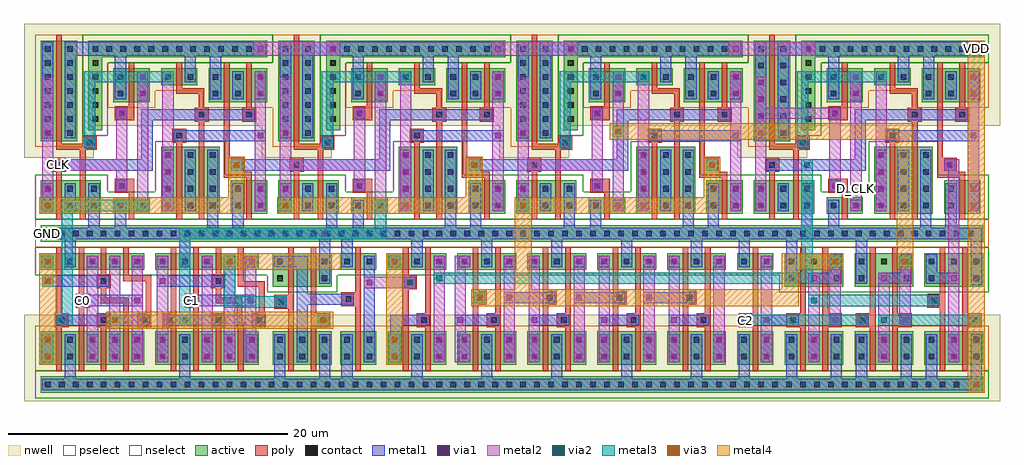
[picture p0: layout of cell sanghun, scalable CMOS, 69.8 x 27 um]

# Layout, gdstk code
import gdstk
lib = gdstk.Library(unit=1e-6, precision=1e-09)
def R(c, l, rs):  # rectangles x0, y0, x1, y1
    for r in rs: c.add(gdstk.rectangle(r[:2], r[2:], *l))
def A(c, l, x, y, w, h, nx, ny, dx, dy):  # array of equal rectangles
    R(c, l, [(x+i*dx, y+j*dy, x+i*dx+w, y+j*dy+h) for i in range(nx) for j in range(ny)])
contact = (25, 0)
via3 = (30, 0)
metal4 = (31, 0)
nwell = (42, 0)
active = (43, 0)
pselect = (44, 0)
nselect = (45, 0)
poly = (46, 0)
metal1 = (49, 0)
via1 = (50, 0)
metal2 = (51, 0)
via2 = (61, 0)
metal3 = (62, 0)

sanghun = lib.new_cell('sanghun')
A(sanghun, contact, -20.9, -8.3, 0.4, 0.4, 7, 2, 1, 10.8)
A(sanghun, contact, -14.9, -8.3, 0.4, 0.4, 6, 2, 1, 10.8)
A(sanghun, contact, -9.9, -8.3, 0.4, 0.4, 6, 2, 1, 10.8)
A(sanghun, contact, -4.9, -8.3, 0.4, 0.4, 3, 2, 1, 10.8)
A(sanghun, contact, -0.9, -8.3, 0.4, 0.4, 4, 2, 1, 10.8)
A(sanghun, contact, 2.1, -8.3, 0.4, 0.4, 7, 2, 1, 10.8)
A(sanghun, contact, 8.1, -8.3, 0.4, 0.4, 6, 2, 1, 10.8)
A(sanghun, contact, 13.1, -8.3, 0.4, 0.4, 6, 2, 1, 10.8)
A(sanghun, contact, 18.1, -8.3, 0.4, 0.4, 3, 2, 1, 10.8)
A(sanghun, contact, 22.1, -8.3, 0.4, 0.4, 4, 2, 1, 10.8)
A(sanghun, contact, 25.1, -8.3, 0.4, 0.4, 7, 2, 1, 10.8)
A(sanghun, contact, 31.1, -8.3, 0.4, 0.4, 6, 2, 1, 10.8)
A(sanghun, contact, 36.1, -8.3, 0.4, 0.4, 6, 2, 1, 10.8)
A(sanghun, contact, 41.1, -8.3, 0.4, 0.4, 3, 2, 1, 10.8)
A(sanghun, contact, -4.3, -6.3, 0.4, 0.4, 5, 2, 1.6, 1.2)
A(sanghun, contact, 32.3, -6.3, 0.4, 0.4, 3, 2, 1.6, 1.2)
A(sanghun, contact, 37.3, -6.3, 0.4, 0.4, 3, 2, 1.6, 1.2)
A(sanghun, contact, 42.3, -6.3, 0.4, 0.4, 3, 2, 1.6, 1.2)
A(sanghun, contact, 6, -3.7, 0.4, 0.4, 5, 1, 5, 0)
A(sanghun, contact, 10, -2.1, 0.4, 0.4, 4, 1, 5, 0)
A(sanghun, contact, -20.9, 0.5, 0.4, 0.4, 1, 3, 0, 2)
A(sanghun, contact, -1.1, 0.5, 0.4, 0.4, 3, 1, 1.6, 0)
A(sanghun, contact, 32.3, 0.5, 0.4, 0.4, 3, 1, 1.6, 0)
A(sanghun, contact, 37.3, 0.5, 0.4, 0.4, 3, 1, 1.6, 0)
A(sanghun, contact, 42.3, 0.5, 0.4, 0.4, 3, 1, 1.6, 0)
A(sanghun, contact, -12.3, 4.5, 0.4, 0.4, 1, 4, 0, 1.2)
A(sanghun, contact, -9.1, 4.5, 0.4, 0.4, 1, 3, 0, 1.2)
A(sanghun, contact, 4.7, 4.5, 0.4, 0.4, 1, 4, 0, 1.2)
A(sanghun, contact, 7.9, 4.5, 0.4, 0.4, 1, 3, 0, 1.2)
A(sanghun, contact, 21.7, 4.5, 0.4, 0.4, 1, 4, 0, 1.2)
A(sanghun, contact, 24.9, 4.5, 0.4, 0.4, 1, 3, 0, 1.2)
A(sanghun, contact, 38.7, 4.5, 0.4, 0.4, 1, 4, 0, 1.2)
A(sanghun, contact, 41.9, 4.5, 0.4, 0.4, 1, 3, 0, 1.2)
A(sanghun, contact, -15.6, 5.9, 0.4, 0.4, 4, 2, 17, 5.2)
A(sanghun, contact, -17.9, 9, 0.4, 0.4, 4, 1, 17, 0)
A(sanghun, contact, -11.5, 9.5, 0.4, 0.4, 4, 1, 17, 0)
A(sanghun, contact, -20.9, 9.7, 0.4, 0.4, 1, 4, 0, 1)
A(sanghun, contact, -19.3, 9.7, 0.4, 0.4, 1, 4, 0, 1)
A(sanghun, contact, -3.9, 9.7, 0.4, 0.4, 1, 4, 0, 1)
A(sanghun, contact, -2.3, 9.7, 0.4, 0.4, 1, 4, 0, 1)
A(sanghun, contact, 13.1, 9.7, 0.4, 0.4, 1, 4, 0, 1)
A(sanghun, contact, 14.7, 9.7, 0.4, 0.4, 1, 4, 0, 1)
A(sanghun, contact, 30.1, 9.7, 0.4, 0.4, 1, 6, 0, 1.2)
A(sanghun, contact, 31.7, 9.7, 0.4, 0.4, 1, 6, 0, 1.2)
A(sanghun, contact, -17.5, 10.7, 0.4, 0.4, 1, 3, 0, 1)
A(sanghun, contact, -0.5, 10.7, 0.4, 0.4, 1, 3, 0, 1)
A(sanghun, contact, 16.5, 10.7, 0.4, 0.4, 1, 3, 0, 1)
A(sanghun, contact, 33.5, 10.7, 0.4, 0.4, 1, 3, 0, 1)
A(sanghun, contact, -20.9, 12.7, 0.4, 0.4, 1, 4, 0, 1)
A(sanghun, contact, -19.3, 12.7, 0.4, 0.4, 1, 4, 0, 1)
A(sanghun, contact, -3.9, 12.7, 0.4, 0.4, 1, 4, 0, 1)
A(sanghun, contact, -2.3, 12.7, 0.4, 0.4, 1, 4, 0, 1)
A(sanghun, contact, 13.1, 12.7, 0.4, 0.4, 1, 4, 0, 1)
A(sanghun, contact, 14.7, 12.7, 0.4, 0.4, 1, 4, 0, 1)
A(sanghun, contact, -17.5, 13.7, 0.4, 0.4, 1, 3, 0, 1)
A(sanghun, contact, -0.5, 13.7, 0.4, 0.4, 1, 3, 0, 1)
A(sanghun, contact, 16.5, 13.7, 0.4, 0.4, 1, 3, 0, 1)
A(sanghun, contact, 33.5, 13.7, 0.4, 0.4, 1, 3, 0, 1)
A(sanghun, contact, -17.5, 15.7, 0.4, 0.4, 3, 1, 1, 0)
A(sanghun, contact, -15.5, 15.7, 0.4, 0.4, 10, 1, 1, 0)
A(sanghun, contact, -0.5, 15.7, 0.4, 0.4, 3, 1, 1, 0)
A(sanghun, contact, 1.5, 15.7, 0.4, 0.4, 10, 1, 1, 0)
A(sanghun, contact, 18.5, 15.7, 0.4, 0.4, 10, 1, 1, 0)
A(sanghun, contact, 35.5, 15.7, 0.4, 0.4, 11, 1, 1, 0)
R(sanghun, contact, [(-20.9,-8.3,-20.5,-7.9), (-2.9,-8.3,-2.5,-7.9), (-1.9,-8.3,-1.5,-7.9), (-1.9,-8.3,-1.5,-7.9), (-0.9,-8.3,-0.5,-7.9), (2.1,-8.3,2.5,-7.9), (20.1,-8.3,20.5,-7.9), (21.1,-8.3,21.5,-7.9), (21.1,-8.3,21.5,-7.9), (22.1,-8.3,22.5,-7.9), (25.1,-8.3,25.5,-7.9), (43.1,-8.3,43.5,-7.9), (44.1,-8.3,44.5,-7.9), (44.1,-8.3,44.5,-7.9), (45.5,-8.3,45.9,-7.9), (-20.9,-6.3,-20.5,-5.9), (-19.3,-6.3,-18.9,-5.9), (-19.3,-6.3,-18.9,-5.9), (-17.7,-6.3,-17.3,-5.9), (-17.7,-6.3,-17.3,-5.9), (-16.1,-6.3,-15.7,-5.9), (-16.1,-6.3,-15.7,-5.9), (-14.5,-6.3,-14.1,-5.9), (-12.7,-6.3,-12.3,-5.9), (-11.1,-6.3,-10.7,-5.9), (-11.1,-6.3,-10.7,-5.9), (-9.5,-6.3,-9.1,-5.9), (-9.5,-6.3,-9.1,-5.9), (-7.9,-6.3,-7.5,-5.9), (-7.9,-6.3,-7.5,-5.9), (-6.3,-6.3,-5.9,-5.9), (3.9,-6.3,4.3,-5.9), (3.9,-6.3,4.3,-5.9), (5.5,-6.3,5.9,-5.9), (5.5,-6.3,5.9,-5.9), (7.1,-6.3,7.5,-5.9), (8.9,-6.3,9.3,-5.9), (10.5,-6.3,10.9,-5.9), (10.5,-6.3,10.9,-5.9), (12.1,-6.3,12.5,-5.9), (13.9,-6.3,14.3,-5.9), (15.5,-6.3,15.9,-5.9), (15.5,-6.3,15.9,-5.9), (17.1,-6.3,17.5,-5.9), (18.9,-6.3,19.3,-5.9), (20.5,-6.3,20.9,-5.9), (20.5,-6.3,20.9,-5.9), (22.1,-6.3,22.5,-5.9), (23.9,-6.3,24.3,-5.9), (25.5,-6.3,25.9,-5.9), (25.5,-6.3,25.9,-5.9), (27.1,-6.3,27.5,-5.9), (28.9,-6.3,29.3,-5.9), (30.5,-6.3,30.9,-5.9), (-20.9,-5.1,-20.5,-4.7), (-19.3,-5.1,-18.9,-4.7), (-19.3,-5.1,-18.9,-4.7), (-17.7,-5.1,-17.3,-4.7), (-17.7,-5.1,-17.3,-4.7), (-16.1,-5.1,-15.7,-4.7), (-16.1,-5.1,-15.7,-4.7), (-14.5,-5.1,-14.1,-4.7), (-12.7,-5.1,-12.3,-4.7), (-11.1,-5.1,-10.7,-4.7), (-11.1,-5.1,-10.7,-4.7), (-9.5,-5.1,-9.1,-4.7), (-9.5,-5.1,-9.1,-4.7), (-7.9,-5.1,-7.5,-4.7), (-7.9,-5.1,-7.5,-4.7), (-6.3,-5.1,-5.9,-4.7), (3.9,-5.1,4.3,-4.7), (3.9,-5.1,4.3,-4.7), (5.5,-5.1,5.9,-4.7), (5.5,-5.1,5.9,-4.7), (7.1,-5.1,7.5,-4.7), (8.9,-5.1,9.3,-4.7), (10.5,-5.1,10.9,-4.7), (10.5,-5.1,10.9,-4.7), (12.1,-5.1,12.5,-4.7), (13.9,-5.1,14.3,-4.7), (15.5,-5.1,15.9,-4.7), (15.5,-5.1,15.9,-4.7), (17.1,-5.1,17.5,-4.7), (18.9,-5.1,19.3,-4.7), (20.5,-5.1,20.9,-4.7), (20.5,-5.1,20.9,-4.7), (22.1,-5.1,22.5,-4.7), (23.9,-5.1,24.3,-4.7), (25.5,-5.1,25.9,-4.7), (25.5,-5.1,25.9,-4.7), (27.1,-5.1,27.5,-4.7), (28.9,-5.1,29.3,-4.7), (30.5,-5.1,30.9,-4.7), (-19.9,-3.7,-19.5,-3.3), (-16.9,-3.7,-16.5,-3.3), (-14,-3.7,-13.6,-3.3), (-12.2,-3.7,-11.8,-3.3), (-8.7,-3.7,-8.3,-3.3), (-5.8,-3.7,-5.4,-3.3), (-1.2,-3.7,-0.8,-3.3), (29,-3.7,29.4,-3.3), (32.4,-3.7,32.8,-3.3), (35.4,-3.7,35.8,-3.3), (37.4,-3.7,37.8,-3.3), (40.4,-3.7,40.8,-3.3), (45.4,-3.7,45.8,-3.3), (-4.2,-2.4,-3.8,-2), (-18.4,-2.3,-18,-1.9), (-10.6,-2.3,-10.2,-1.9), (42.5,-2.3,42.9,-1.9), (42.5,-2.3,42.9,-1.9), (0.6,-2.2,1,-1.8), (5,-1,5.4,-0.6), (-16.9,-0.9,-16.5,-0.5), (-8.7,-0.9,-8.3,-0.5), (-4.3,-0.7,-3.9,-0.3), (-1.1,-0.7,-0.7,-0.3), (32.3,-0.7,32.7,-0.3), (35.5,-0.7,35.9,-0.3), (37.3,-0.7,37.7,-0.3), (40.5,-0.7,40.9,-0.3), (42.3,-0.7,42.7,-0.3), (45.5,-0.7,45.9,-0.3), (-19.3,0.5,-18.9,0.9), (-19.3,0.5,-18.9,0.9), (-17.7,0.5,-17.3,0.9), (-17.7,0.5,-17.3,0.9), (-16.1,0.5,-15.7,0.9), (-16.1,0.5,-15.7,0.9), (-14.5,0.5,-14.1,0.9), (-12.7,0.5,-12.3,0.9), (-11.1,0.5,-10.7,0.9), (-11.1,0.5,-10.7,0.9), (-9.5,0.5,-9.1,0.9), (-9.5,0.5,-9.1,0.9), (-7.9,0.5,-7.5,0.9), (-7.9,0.5,-7.5,0.9), (-6.3,0.5,-5.9,0.9), (-4.3,0.5,-3.9,0.9), (3.9,0.5,4.3,0.9), (5.5,0.5,5.9,0.9), (5.5,0.5,5.9,0.9), (7.1,0.5,7.5,0.9), (8.9,0.5,9.3,0.9), (10.5,0.5,10.9,0.9), (10.5,0.5,10.9,0.9), (12.1,0.5,12.5,0.9), (13.9,0.5,14.3,0.9), (15.5,0.5,15.9,0.9), (15.5,0.5,15.9,0.9), (17.1,0.5,17.5,0.9), (18.9,0.5,19.3,0.9), (20.5,0.5,20.9,0.9), (20.5,0.5,20.9,0.9), (22.1,0.5,22.5,0.9), (23.9,0.5,24.3,0.9), (25.5,0.5,25.9,0.9), (25.5,0.5,25.9,0.9), (27.1,0.5,27.5,0.9), (28.9,0.5,29.3,0.9), (30.5,0.5,30.9,0.9), (-2.9,2.5,-2.5,2.9), (-1.9,2.5,-1.5,2.9), (-1.9,2.5,-1.5,2.9), (-0.9,2.5,-0.5,2.9), (2.1,2.5,2.5,2.9), (20.1,2.5,20.5,2.9), (21.1,2.5,21.5,2.9), (21.1,2.5,21.5,2.9), (22.1,2.5,22.5,2.9), (25.1,2.5,25.5,2.9), (43.1,2.5,43.5,2.9), (44.1,2.5,44.5,2.9), (44.1,2.5,44.5,2.9), (45.1,2.5,45.5,2.9), (45.1,2.5,45.5,2.9), (-19.3,4.5,-18.9,4.9), (-19.3,4.5,-18.9,4.9), (-17.6,4.5,-17.2,4.9), (-17.6,4.5,-17.2,4.9), (-15.7,4.5,-15.3,4.9), (-14.1,4.5,-13.7,4.9), (-10.7,4.5,-10.3,4.9), (-10.7,4.5,-10.3,4.9), (-9.1,4.5,-8.7,4.9), (-7.3,4.5,-6.9,4.9), (-5.7,4.5,-5.3,4.9), (-3.9,4.5,-3.5,4.9), (-2.3,4.5,-1.9,4.9), (-2.3,4.5,-1.9,4.9), (-0.6,4.5,-0.2,4.9), (-0.6,4.5,-0.2,4.9), (1.3,4.5,1.7,4.9), (2.9,4.5,3.3,4.9), (6.3,4.5,6.7,4.9), (6.3,4.5,6.7,4.9), (7.9,4.5,8.3,4.9), (9.7,4.5,10.1,4.9), (11.3,4.5,11.7,4.9), (13.1,4.5,13.5,4.9), (14.7,4.5,15.1,4.9), (14.7,4.5,15.1,4.9), (16.4,4.5,16.8,4.9), (16.4,4.5,16.8,4.9), (18.3,4.5,18.7,4.9), (19.9,4.5,20.3,4.9), (23.3,4.5,23.7,4.9), (23.3,4.5,23.7,4.9), (24.9,4.5,25.3,4.9), (26.7,4.5,27.1,4.9), (28.3,4.5,28.7,4.9), (30.1,4.5,30.5,4.9), (31.7,4.5,32.1,4.9), (31.7,4.5,32.1,4.9), (33.4,4.5,33.8,4.9), (33.4,4.5,33.8,4.9), (35.3,4.5,35.7,4.9), (36.9,4.5,37.3,4.9), (40.3,4.5,40.7,4.9), (40.3,4.5,40.7,4.9), (41.9,4.5,42.3,4.9), (43.7,4.5,44.1,4.9), (45.3,4.5,45.7,4.9), (-20.9,5.7,-20.5,6.1), (-19.3,5.7,-18.9,6.1), (-19.3,5.7,-18.9,6.1), (-17.6,5.7,-17.2,6.1), (-10.7,5.7,-10.3,6.1), (-10.7,5.7,-10.3,6.1), (-7.3,5.7,-6.9,6.1), (-5.7,5.7,-5.3,6.1), (-3.9,5.7,-3.5,6.1), (-2.3,5.7,-1.9,6.1), (-2.3,5.7,-1.9,6.1), (-0.6,5.7,-0.2,6.1), (6.3,5.7,6.7,6.1), (6.3,5.7,6.7,6.1), (9.7,5.7,10.1,6.1), (11.3,5.7,11.7,6.1), (13.1,5.7,13.5,6.1), (14.7,5.7,15.1,6.1), (14.7,5.7,15.1,6.1), (16.4,5.7,16.8,6.1), (23.3,5.7,23.7,6.1), (23.3,5.7,23.7,6.1), (26.7,5.7,27.1,6.1), (28.3,5.7,28.7,6.1), (30.1,5.7,30.5,6.1), (31.7,5.7,32.1,6.1), (31.7,5.7,32.1,6.1), (33.4,5.7,33.8,6.1), (40.3,5.7,40.7,6.1), (40.3,5.7,40.7,6.1), (43.7,5.7,44.1,6.1), (45.3,5.7,45.7,6.1), (-10.7,6.9,-10.3,7.3), (-10.7,6.9,-10.3,7.3), (-9.1,6.9,-8.7,7.3), (6.3,6.9,6.7,7.3), (6.3,6.9,6.7,7.3), (7.9,6.9,8.3,7.3), (23.3,6.9,23.7,7.3), (23.3,6.9,23.7,7.3), (24.9,6.9,25.3,7.3), (40.3,6.9,40.7,7.3), (40.3,6.9,40.7,7.3), (41.9,6.9,42.3,7.3), (-20.1,7.4,-19.7,7.8), (-7.4,7.4,-7,7.8), (-3.1,7.4,-2.7,7.8), (9.6,7.4,10,7.8), (13.9,7.4,14.3,7.8), (26.6,7.4,27,7.8), (30.9,7.4,31.3,7.8), (43.6,7.4,44,7.8), (-10.7,8.1,-10.3,8.5), (-10.7,8.1,-10.3,8.5), (-9.1,8.1,-8.7,8.5), (6.3,8.1,6.7,8.5), (6.3,8.1,6.7,8.5), (7.9,8.1,8.3,8.5), (23.3,8.1,23.7,8.5), (23.3,8.1,23.7,8.5), (24.9,8.1,25.3,8.5), (40.3,8.1,40.7,8.5), (40.3,8.1,40.7,8.5), (41.9,8.1,42.3,8.5), (-20.9,9.7,-20.5,10.1), (-19.3,9.7,-18.9,10.1), (-3.9,9.7,-3.5,10.1), (-3.9,9.7,-3.5,10.1), (-3.9,9.7,-3.5,10.1), (-3.9,9.7,-3.5,10.1), (-2.3,9.7,-1.9,10.1), (-2.3,9.7,-1.9,10.1), (-2.3,9.7,-1.9,10.1), (-2.3,9.7,-1.9,10.1), (13.1,9.7,13.5,10.1), (13.1,9.7,13.5,10.1), (14.7,9.7,15.1,10.1), (14.7,9.7,15.1,10.1), (-9.9,11,-9.5,11.4), (-6.5,11,-6.1,11.4), (7.1,11,7.5,11.4), (10.5,11,10.9,11.4), (24.1,11,24.5,11.4), (27.5,11,27.9,11.4), (41.1,11,41.5,11.4), (44.5,11,44.9,11.4), (-15.7,12.5,-15.3,12.9), (-14.1,12.5,-13.7,12.9), (-8.9,12.5,-8.5,12.9), (-7.3,12.5,-6.9,12.9), (-7.3,12.5,-6.9,12.9), (-5.7,12.5,-5.3,12.9), (1.3,12.5,1.7,12.9), (2.9,12.5,3.3,12.9), (8.1,12.5,8.5,12.9), (9.7,12.5,10.1,12.9), (9.7,12.5,10.1,12.9), (11.3,12.5,11.7,12.9), (18.3,12.5,18.7,12.9), (19.9,12.5,20.3,12.9), (25.1,12.5,25.5,12.9), (26.7,12.5,27.1,12.9), (26.7,12.5,27.1,12.9), (28.3,12.5,28.7,12.9), (35.3,12.5,35.7,12.9), (36.9,12.5,37.3,12.9), (42.1,12.5,42.5,12.9), (43.7,12.5,44.1,12.9), (43.7,12.5,44.1,12.9), (45.3,12.5,45.7,12.9), (-17.5,12.7,-17.1,13.1), (-0.5,12.7,-0.1,13.1), (16.5,12.7,16.9,13.1), (33.5,12.7,33.9,13.1), (-17.5,13.7,-17.1,14.1), (-15.7,13.7,-15.3,14.1), (-14.1,13.7,-13.7,14.1), (-12.3,13.7,-11.9,14.1), (-10.7,13.7,-10.3,14.1), (-8.9,13.7,-8.5,14.1), (-8.9,13.7,-8.5,14.1), (-7.3,13.7,-6.9,14.1), (-7.3,13.7,-6.9,14.1), (-5.7,13.7,-5.3,14.1), (-0.5,13.7,-0.1,14.1), (1.3,13.7,1.7,14.1), (2.9,13.7,3.3,14.1), (4.7,13.7,5.1,14.1), (6.3,13.7,6.7,14.1), (8.1,13.7,8.5,14.1), (8.1,13.7,8.5,14.1), (9.7,13.7,10.1,14.1), (9.7,13.7,10.1,14.1), (11.3,13.7,11.7,14.1), (16.5,13.7,16.9,14.1), (18.3,13.7,18.7,14.1), (19.9,13.7,20.3,14.1), (21.7,13.7,22.1,14.1), (23.3,13.7,23.7,14.1), (25.1,13.7,25.5,14.1), (25.1,13.7,25.5,14.1), (26.7,13.7,27.1,14.1), (26.7,13.7,27.1,14.1), (28.3,13.7,28.7,14.1), (33.5,13.7,33.9,14.1), (35.3,13.7,35.7,14.1), (36.9,13.7,37.3,14.1), (38.7,13.7,39.1,14.1), (40.3,13.7,40.7,14.1), (42.1,13.7,42.5,14.1), (42.1,13.7,42.5,14.1), (43.7,13.7,44.1,14.1), (43.7,13.7,44.1,14.1), (45.3,13.7,45.7,14.1), (-20.9,15.7,-20.5,16.1), (-19.3,15.7,-18.9,16.1), (-3.9,15.7,-3.5,16.1), (-3.9,15.7,-3.5,16.1), (-3.9,15.7,-3.5,16.1), (-3.9,15.7,-3.5,16.1), (-2.3,15.7,-1.9,16.1), (-2.3,15.7,-1.9,16.1), (-2.3,15.7,-1.9,16.1), (-2.3,15.7,-1.9,16.1), (13.1,15.7,13.5,16.1), (13.1,15.7,13.5,16.1), (14.7,15.7,15.1,16.1), (14.7,15.7,15.1,16.1), (16.5,15.7,16.9,16.1), (17.5,15.7,17.9,16.1), (17.5,15.7,17.9,16.1), (18.5,15.7,18.9,16.1), (33.5,15.7,33.9,16.1), (34.5,15.7,34.9,16.1), (34.5,15.7,34.9,16.1), (35.5,15.7,35.9,16.1)])
A(sanghun, via3, -20.9, 4.5, 0.4, 0.4, 3, 1, 17, 0)
A(sanghun, via3, -7.4, 7.4, 0.4, 0.4, 3, 1, 17, 0)
R(sanghun, via3, [(45.5,-8.3,45.9,-7.9), (-20.9,-6.3,-20.5,-5.9), (3.9,-6.3,4.3,-5.9), (-20.9,-5.1,-20.5,-4.7), (3.9,-5.1,4.3,-4.7), (-16.1,-3.7,-15.7,-3.3), (-1.2,-3.7,-0.8,-3.3), (10,-2.1,10.4,-1.7), (-20.9,-0.9,-20.5,-0.5), (-20.9,0.5,-20.5,0.9), (-20.9,0.5,-20.5,0.9), (-7.9,0.5,-7.5,0.9), (3.9,0.5,4.3,0.9), (35.4,0.5,35.8,0.9), (40.4,0.5,40.8,0.9), (19.9,9.8,20.3,10.2), (45.5,15.7,45.9,16.1)])
A(sanghun, metal4, -21.3, 4.1, 14.7, 1.2, 3, 1, 17, 0)
A(sanghun, metal4, -7.8, 4.1, 1.2, 4.1, 3, 1, 17, 0)
R(sanghun, metal4, [(45.1,-8.7,46.3,16.5), (-21.3,-6.7,-20.1,1.3), (3.5,-6.7,4.7,1.3), (-16.5,-4.1,-0.3,-2.9), (9.6,-2.5,33,-1.3), (12.7,-2.5,13.9,5.3), (31.8,-2.5,33,1.3), (-8.3,0.1,0.3,1.3), (31.8,0.1,36.2,1.3), (40,0.1,41.2,10.6), (-7.9,0.5,-7.5,0.9), (19.5,9.4,41.2,10.6)])
A(sanghun, nwell, -22.4, 8.1, 5, 9.6, 3, 1, 17, 0)
A(sanghun, nwell, -22.4, 10.4, 18.6, 7.3, 3, 1, 17, 0)
R(sanghun, nwell, [(-22.4,-9.3,47.4,-3.1), (28.6,8.1,33.6,17.1), (28.6,10.4,47.4,17.7)])
A(sanghun, active, 25.2, -6.7, 2.6, 2.4, 3, 1, 3.4, 0)
A(sanghun, active, 32, -1.1, 4.2, 2.4, 3, 1, 5, 0)
A(sanghun, active, -12.6, 4.1, 2.6, 1.2, 1, 4, 0, 1.2)
A(sanghun, active, -11, 4.1, 2.6, 1.2, 3, 2, 3.4, 1.2)
A(sanghun, active, 4.4, 4.1, 2.6, 1.2, 1, 4, 0, 1.2)
A(sanghun, active, 6, 4.1, 2.6, 1.2, 3, 2, 3.4, 1.2)
A(sanghun, active, 21.4, 4.1, 2.6, 1.2, 1, 4, 0, 1.2)
A(sanghun, active, 23, 4.1, 2.6, 1.2, 3, 2, 3.4, 1.2)
A(sanghun, active, 38.4, 4.1, 2.6, 1.2, 1, 4, 0, 1.2)
A(sanghun, active, 40, 4.1, 2.6, 1.2, 1, 4, 0, 1.2)
A(sanghun, active, -21.2, 9.3, 2.6, 2.4, 4, 3, 17, 2.4)
A(sanghun, active, -17.8, 10.1, 1, 4.4, 4, 2, 17, 2)
A(sanghun, active, -12.6, 13.3, 2.6, 1.2, 4, 1, 17, 0)
A(sanghun, active, -17.8, 15.3, 12.8, 1.2, 3, 1, 17, 0)
R(sanghun, active, [(-21.2,-8.7,46.2,-7.5), (-21.2,-6.7,-13.8,-4.3), (-13,-6.7,-5.6,-4.3), (-4.6,-6.7,-2,-4.3), (-4.6,-6.7,-2,-4.3), (-3,-6.7,-0.4,-4.3), (0.2,-6.7,2.8,-4.3), (3.6,-6.7,6.2,-4.3), (5.2,-6.7,7.8,-4.3), (8.6,-6.7,11.2,-4.3), (10.2,-6.7,12.8,-4.3), (13.6,-6.7,16.2,-4.3), (15.2,-6.7,17.8,-4.3), (18.6,-6.7,21.2,-4.3), (20.2,-6.7,22.8,-4.3), (23.6,-6.7,26.2,-4.3), (32,-6.7,34.6,-4.3), (33.6,-6.7,36.2,-4.3), (37,-6.7,39.6,-4.3), (37,-6.7,39.6,-4.3), (38.6,-6.7,41.2,-4.3), (42,-6.7,44.6,-4.3), (42,-6.7,44.6,-4.3), (43.6,-6.7,46.2,-4.3), (-4.6,-1.1,-0.4,1.3), (-21.2,0.1,-13.8,1.3), (-13,0.1,-5.6,1.3), (0.2,0.1,2.8,1.3), (3.6,0.1,6.2,1.3), (5.2,0.1,7.8,1.3), (8.6,0.1,11.2,1.3), (10.2,0.1,12.8,1.3), (13.6,0.1,16.2,1.3), (15.2,0.1,17.8,1.3), (18.6,0.1,21.2,1.3), (20.2,0.1,22.8,1.3), (23.6,0.1,26.2,1.3), (25.2,0.1,27.8,1.3), (28.6,0.1,31.2,1.3), (-21.2,2.1,46.2,3.3), (-21.2,4.1,-18.6,5.3), (-19.5,4.1,-16.9,5.3), (-16,4.1,-13.4,5.3), (-2.5,4.1,0.1,5.3), (1,4.1,3.6,5.3), (14.5,4.1,17.1,5.3), (18,4.1,20.6,5.3), (31.5,4.1,34.1,5.3), (35,4.1,37.6,5.3), (43.4,4.1,46,5.3), (-21.2,5.3,-18.6,6.5), (-19.5,5.3,-16.9,6.5), (-2.5,5.3,0.1,6.5), (14.5,5.3,17.1,6.5), (31.5,5.3,34.1,6.5), (43.4,5.3,46,6.5), (-11,6.5,-8.4,7.7), (6,6.5,8.6,7.7), (23,6.5,25.6,7.7), (-11,7.7,-8.4,8.9), (6,7.7,8.6,8.9), (23,7.7,25.6,8.9), (-16,12.1,-13.4,14.5), (-9.2,12.1,-6.6,14.5), (-7.6,12.1,-5,14.5), (1,12.1,3.6,14.5), (7.8,12.1,10.4,14.5), (9.4,12.1,12,14.5), (18,12.1,20.6,14.5), (24.8,12.1,27.4,14.5), (26.4,12.1,29,14.5), (35,12.1,37.6,14.5), (41.8,12.1,44.4,14.5), (43.4,12.1,46,14.5), (-12.6,15.3,-10,16.5), (-9.2,15.3,-6.6,16.5), (-7.6,15.3,-5,16.5), (4.4,15.3,7,16.5), (7.8,15.3,10.4,16.5), (9.4,15.3,12,16.5), (21.4,15.3,24,16.5), (24.8,15.3,27.4,16.5), (26.4,15.3,29,16.5), (33.2,15.3,46.2,16.5), (38.4,15.3,41,16.5), (41.8,15.3,44.4,16.5)])
A(sanghun, pselect, 24.8, -7.1, 3.4, 3.2, 3, 1, 3.4, 0)
A(sanghun, pselect, -21.6, 1.7, 3.6, 2, 4, 1, 17, 0)
A(sanghun, pselect, -19.8, 1.7, 3.4, 2, 4, 1, 3.4, 0)
A(sanghun, pselect, -2.8, 1.7, 3.4, 2, 4, 1, 3.4, 0)
A(sanghun, pselect, 14.2, 1.7, 3.4, 2, 4, 1, 3.4, 0)
A(sanghun, pselect, 31.2, 1.7, 3.4, 2, 4, 1, 3.4, 0)
A(sanghun, pselect, -21.6, 8.9, 3.4, 8, 4, 1, 17, 0)
A(sanghun, pselect, -9.6, 11.7, 1.6, 3.2, 4, 1, 17, 0)
A(sanghun, pselect, -13, 12.9, 3.4, 2, 4, 1, 17, 0)
R(sanghun, pselect, [(-21.6,-7.1,3.2,-3.9), (-5,-7.1,-1.6,-3.9), (-3.4,-7.1,0,-3.9), (-0.2,-7.1,3.2,-3.9), (3.2,-7.1,6.6,-3.9), (4.8,-7.1,8.2,-3.9), (8.2,-7.1,11.6,-3.9), (9.8,-7.1,13.2,-3.9), (13.2,-7.1,16.6,-3.9), (14.8,-7.1,18.2,-3.9), (18.2,-7.1,21.6,-3.9), (19.8,-7.1,23.2,-3.9), (23.2,-7.1,26.6,-3.9), (33.2,-7.1,36.6,-3.9), (36.6,-7.1,40,-3.9), (38.2,-7.1,41.6,-3.9), (41.6,-7.1,45,-3.9), (43.2,-7.1,46.6,-3.9), (-8,1.7,-4.6,3.7), (9,1.7,12.4,3.7), (26,1.7,29.4,3.7), (43,1.7,46.6,3.7), (-16.4,11.7,-13,14.9), (-8,11.7,-4.6,14.9), (0.6,11.7,4,14.9), (9,11.7,12.4,14.9), (17.6,11.7,21,14.9), (26,11.7,29.4,14.9), (34.6,11.7,38,14.9), (43,11.7,46.6,14.9)])
A(sanghun, nselect, 24.8, -9.1, 3.4, 2, 3, 1, 3.4, 0)
A(sanghun, nselect, 31.6, -1.5, 5, 3.2, 3, 1, 5, 0)
A(sanghun, nselect, -19.9, 3.7, 3.5, 3.2, 4, 1, 17, 0)
A(sanghun, nselect, -9.6, 3.7, 5, 3.2, 3, 1, 17, 0)
A(sanghun, nselect, -13, 6.9, 5, 2.4, 4, 1, 17, 0)
A(sanghun, nselect, -18.2, 9.7, 1.8, 5.2, 4, 2, 17, 2)
A(sanghun, nselect, -18.2, 14.9, 5.2, 2, 4, 1, 17, 0)
R(sanghun, nselect, [(-21.6,-9.1,3.2,-7.1), (-1.8,-9.1,1.6,-7.1), (-0.2,-9.1,3.2,-7.1), (3.2,-9.1,6.6,-7.1), (4.8,-9.1,8.2,-7.1), (8.2,-9.1,11.6,-7.1), (9.8,-9.1,13.2,-7.1), (13.2,-9.1,16.6,-7.1), (14.8,-9.1,18.2,-7.1), (18.2,-9.1,21.6,-7.1), (19.8,-9.1,23.2,-7.1), (23.2,-9.1,26.6,-7.1), (33.2,-9.1,36.6,-7.1), (36.6,-9.1,40,-7.1), (38.2,-9.1,41.6,-7.1), (41.6,-9.1,45,-7.1), (43.2,-9.1,46.6,-7.1), (-5,-1.5,0,1.7), (-21.6,-0.3,-5,1.7), (-0.2,-0.3,3.2,1.7), (3.2,-0.3,6.6,1.7), (4.8,-0.3,8.2,1.7), (8.2,-0.3,11.6,1.7), (9.8,-0.3,13.2,1.7), (13.2,-0.3,16.6,1.7), (14.8,-0.3,18.2,1.7), (18.2,-0.3,21.6,1.7), (19.8,-0.3,23.2,1.7), (23.2,-0.3,26.6,1.7), (24.8,-0.3,28.2,1.7), (28.2,-0.3,31.6,1.7), (-21.6,3.7,-18.2,6.9), (-16.4,3.7,-13,5.7), (-13,3.7,-9.6,6.9), (-8,3.7,-4.6,5.7), (-4.6,3.7,-1.2,6.9), (0.6,3.7,4,5.7), (4,3.7,7.4,6.9), (9,3.7,12.4,5.7), (12.4,3.7,15.8,6.9), (17.6,3.7,21,5.7), (21,3.7,24.4,6.9), (26,3.7,29.4,5.7), (29.4,3.7,32.8,6.9), (34.6,3.7,38,5.7), (38,3.7,41.4,6.9), (41.4,3.7,46.6,6.9), (43,3.7,46.4,5.7), (-13,14.9,-9.6,16.9), (-11.4,14.9,-8,16.9), (-8,14.9,-4.6,16.9), (4,14.9,7.4,16.9), (5.6,14.9,9,16.9), (9,14.9,12.4,16.9), (21,14.9,24.4,16.9), (22.6,14.9,26,16.9), (26,14.9,29.4,16.9), (38,14.9,41.4,16.9), (39.6,14.9,43,16.9), (43,14.9,46.6,16.9)])
A(sanghun, poly, 26.3, -7.1, 0.4, 3.2, 3, 1, 3.4, 0)
A(sanghun, poly, 5.7, -4, 1, 1, 5, 1, 5, 0)
A(sanghun, poly, 9.7, -2.4, 1, 1, 4, 1, 5, 0)
A(sanghun, poly, -20.1, 3.7, 0.4, 3.4, 4, 1, 17, 0)
A(sanghun, poly, -18.4, 3.7, 0.4, 5, 4, 1, 17, 0)
A(sanghun, poly, -14.9, 3.7, 0.4, 1.5, 4, 1, 17, 0)
A(sanghun, poly, -11.5, 3.7, 0.4, 5.5, 4, 1, 17, 0)
A(sanghun, poly, -9.9, 3.7, 0.4, 7, 4, 1, 17, 0)
A(sanghun, poly, -6.5, 3.7, 0.4, 3.3, 4, 1, 17, 0)
A(sanghun, poly, -14.9, 5.2, 0.4, 1.4, 4, 1, 17, 0)
A(sanghun, poly, -15.9, 5.6, 1, 1, 4, 2, 17, 5.2)
A(sanghun, poly, -8.1, 6.7, 2, 0.4, 4, 1, 17, 0)
A(sanghun, poly, -8.1, 7, 0.4, 7.9, 4, 1, 17, 0)
A(sanghun, poly, -20.1, 8.7, 2.1, 0.4, 4, 1, 17, 0)
A(sanghun, poly, -20.1, 8.7, 0.4, 8.2, 4, 1, 17, 0)
A(sanghun, poly, -18.2, 8.7, 1, 1, 4, 1, 17, 0)
A(sanghun, poly, -11.8, 9.2, 1, 1, 4, 1, 17, 0)
A(sanghun, poly, -14.9, 10.8, 0.4, 1, 4, 1, 17, 0)
A(sanghun, poly, -9.9, 11.7, 0.4, 1.4, 4, 1, 17, 0)
A(sanghun, poly, -11.5, 12.7, 2, 0.4, 4, 1, 17, 0)
A(sanghun, poly, -11.5, 12.8, 0.4, 2.1, 4, 1, 17, 0)
R(sanghun, poly, [(-20.1,-7.1,-19.7,-0.3), (-18.5,-7.1,-18.1,-0.3), (-16.9,-7.1,-16.5,-3.9), (-15.3,-7.1,-14.9,-1.9), (-11.9,-7.1,-11.5,-0.3), (-10.3,-7.1,-9.9,-0.3), (-8.7,-7.1,-8.3,-3.9), (-7.1,-7.1,-6.7,-3.9), (-3.5,-7.1,-3.1,-1.5), (-1.9,-7.1,-1.5,-1.5), (1.3,-7.1,1.7,1.7), (4.7,-7.1,5.1,-0.3), (6.3,-7.1,6.7,-0.3), (9.7,-7.1,10.1,-3.9), (11.3,-7.1,11.7,-3.9), (14.7,-7.1,15.1,-3.9), (16.3,-7.1,16.7,-3.9), (19.7,-7.1,20.1,-3.9), (21.3,-7.1,21.7,-3.9), (24.7,-7.1,25.1,-3.9), (34.7,-7.1,35.1,-3.9), (38.1,-7.1,38.5,-3.9), (39.7,-7.1,40.1,-3.9), (43.1,-7.1,43.5,-3.9), (44.7,-7.1,45.1,-3.9), (-7.2,-4.1,-6.7,-3.7), (-20.2,-4,-19.2,-3), (-17.2,-4,-16.2,-3), (-14.3,-4,-13.3,-3), (-12.5,-4,-11.5,-3), (-9,-4,-8,-3), (-6.1,-4,-5.1,-3), (-1.5,-4,-0.5,-3), (28.7,-4,29.7,-3), (32.1,-4,33.1,-3), (35.1,-4,36.1,-3), (37.1,-4,38.1,-3), (40.1,-4,41.1,-3), (45.1,-4,46.1,-3), (-7.2,-3.9,-6.8,-1.9), (9.7,-3.9,10.1,-0.3), (11.3,-3.9,11.7,-0.3), (14.7,-3.9,15.1,-0.3), (16.3,-3.9,16.7,-1.5), (16.3,-3.9,16.7,-0.3), (19.7,-3.9,20.1,-0.3), (21.3,-3.9,21.7,-1.5), (21.3,-3.9,21.7,-0.3), (24.7,-3.9,25.1,-0.3), (26.3,-3.9,26.7,-0.3), (29.7,-3.9,30.1,-1.5), (33.1,-3.9,33.5,-0.2), (34.7,-3.9,35.1,-0.2), (38.1,-3.9,38.5,-0.2), (39.7,-3.9,40.1,-0.2), (43.1,-3.9,43.5,-0.2), (44.7,-3.9,45.1,-0.2), (-13.7,-3.2,-13.3,-0.3), (-5.6,-3,-5.2,-0.7), (-4.5,-2.7,-3.5,-1.7), (-18.7,-2.6,-17.7,-1.6), (-10.9,-2.6,-9.9,-1.6), (42.2,-2.6,43.2,-1.6), (0.3,-2.5,1.3,-1.5), (-16.9,-2.3,-14.9,-1.9), (-8.7,-2.3,-6.8,-1.9), (-8.7,-2.3,-8.3,1.7), (-16.9,-1.9,-16.5,1.7), (33.1,-1.6,33.5,1.7), (34.7,-1.6,35.1,1.7), (38.1,-1.6,38.5,1.7), (39.7,-1.6,40.1,1.7), (43.1,-1.6,43.5,1.7), (44.7,-1.6,45.1,1.7), (-3.5,-1.5,-3.1,1.7), (-1.9,-1.5,-1.5,1.7), (29.7,-1.5,30.1,1.7), (4.7,-1.3,5.7,-0.3), (-17.2,-1.2,-16.2,-0.2), (-9,-1.2,-8,-0.2), (-7.1,-1.1,-5.2,-0.7), (-7.1,-1.1,-6.7,1.7), (-15.3,-0.7,-14.9,1.7), (-15.3,-0.7,-13.3,-0.3), (-20.1,-0.3,-19.7,1.7), (-18.5,-0.3,-18.1,1.7), (-11.9,-0.3,-11.5,1.7), (-10.3,-0.3,-9.9,1.7), (4.7,-0.3,5.1,1.7), (6.3,-0.3,6.7,1.7), (9.7,-0.3,10.1,1.7), (11.3,-0.3,11.7,1.7), (14.7,-0.3,15.1,1.7), (16.3,-0.3,16.7,1.7), (19.7,-0.3,20.1,1.7), (21.3,-0.3,21.7,1.7), (24.7,-0.3,25.1,1.7), (26.3,-0.3,26.7,1.7), (-20.4,7.1,-19.4,8.1), (-7.7,7.1,-6.7,8.1), (-3.4,7.1,-2.4,8.1), (9.3,7.1,10.3,8.1), (13.6,7.1,14.6,8.1), (26.3,7.1,27.3,8.1), (30.6,7.1,31.6,8.1), (43.3,7.1,44.3,8.1), (-10.2,10.7,-9.2,11.7), (-6.8,10.7,-5.8,11.7), (6.8,10.7,7.8,11.7), (10.2,10.7,11.2,11.7), (23.8,10.7,24.8,11.7), (27.2,10.7,28.2,11.7), (40.8,10.7,41.8,11.7), (44.2,10.7,45.2,11.7), (-14.9,11.7,-14.5,14.9), (-6.5,11.7,-6.1,14.9), (2.1,11.7,2.5,14.9), (10.5,11.7,10.9,14.9), (19.1,11.7,19.5,14.9), (27.5,11.7,27.9,14.9), (36.1,11.7,36.5,14.9), (44.5,11.7,44.9,14.9)])
A(sanghun, metal1, 0.3, -8.5, 0.8, 4, 6, 1, 5, 0)
A(sanghun, metal1, -17.9, -6.5, 0.8, 2, 3, 1, 1.6, 0)
A(sanghun, metal1, -9.7, -6.5, 0.8, 2, 3, 1, 1.6, 0)
A(sanghun, metal1, 13.7, -3.9, 2.9, 0.8, 3, 1, 5, 0)
A(sanghun, metal1, 11.9, -2.3, 3.7, 0.8, 3, 1, 5, 0)
A(sanghun, metal1, -17.9, 0.3, 0.8, 0.8, 3, 1, 1.6, 0)
A(sanghun, metal1, -9.7, 0.3, 0.8, 0.8, 3, 1, 1.6, 0)
A(sanghun, metal1, 5.3, 0.3, 0.8, 2.8, 5, 1, 5, 0)
A(sanghun, metal1, -15.9, 2.3, 0.8, 2.8, 4, 1, 17, 0)
A(sanghun, metal1, -9.3, 2.3, 0.8, 6.4, 4, 1, 17, 0)
A(sanghun, metal1, -14.3, 4.3, 0.8, 0.8, 4, 1, 17, 0)
A(sanghun, metal1, -15.8, 5.7, 0.8, 0.8, 4, 2, 17, 5.2)
A(sanghun, metal1, -10.9, 6.2, 0.8, 2.5, 4, 1, 17, 0)
A(sanghun, metal1, -12.5, 6.3, 0.8, 2.4, 4, 1, 17, 0)
A(sanghun, metal1, -14, 7.2, 0.8, 3.8, 4, 1, 17, 0)
A(sanghun, metal1, -7.6, 7.2, 0.8, 0.8, 4, 1, 17, 0)
A(sanghun, metal1, -18.1, 8.8, 0.8, 0.8, 4, 1, 17, 0)
A(sanghun, metal1, -11.7, 9.3, 6.6, 0.8, 4, 1, 17, 0)
A(sanghun, metal1, -21.1, 9.5, 0.8, 6.9, 4, 1, 17, 0)
A(sanghun, metal1, -19.5, 9.5, 0.8, 6.8, 4, 1, 17, 0)
A(sanghun, metal1, -14, 10.8, 8.1, 0.8, 4, 1, 17, 0)
A(sanghun, metal1, -14.3, 12.2, 0.8, 2.1, 4, 1, 17, 0)
A(sanghun, metal1, -12.5, 13.5, 0.8, 0.8, 4, 1, 17, 0)
A(sanghun, metal1, -10.9, 13.5, 0.8, 2.8, 4, 1, 17, 0)
A(sanghun, metal1, -19.5, 15.4, 14.4, 1, 4, 1, 17, 0)
R(sanghun, metal1, [(-21.1,-8.5,46.1,-7.7), (28.7,-8.5,29.5,-4.5), (32.1,-8.5,32.9,-4.5), (35.3,-8.5,36.1,-4.5), (37.1,-8.5,37.9,-4.5), (40.3,-8.5,41.1,-4.5), (42.1,-8.5,42.9,-4.5), (45.3,-8.5,46.1,-4.5), (-19.5,-8.4,-18.7,-4.5), (-11.3,-8.4,-10.5,-4.5), (-4.5,-8.4,-3.7,-4.5), (-1.3,-8.4,-0.5,-4.5), (-21.1,-6.5,-20.3,-4.5), (-12.9,-6.5,-12.1,-4.5), (-2.9,-6.5,-2.1,1.1), (1.9,-6.5,2.7,1.1), (3.7,-6.5,4.5,-4.5), (3.7,-6.5,4.5,-4.5), (3.8,-6.5,4.6,-3.2), (6.9,-6.5,7.7,-4.5), (8.7,-6.5,9.5,-4.5), (11.9,-6.5,12.7,-4.5), (13.7,-6.5,14.5,-4.5), (16.9,-6.5,17.7,-4.5), (18.7,-6.5,19.5,-4.5), (21.9,-6.5,22.7,-4.5), (23.7,-6.5,24.5,-4.5), (26.9,-6.5,27.7,-4.5), (28.7,-6.5,29.5,-4.5), (30.3,-6.5,31.1,-4.5), (33.7,-6.5,34.5,-4.5), (33.7,-6.5,34.5,-4.5), (38.7,-6.5,39.5,-4.5), (38.7,-6.5,39.5,-4.5), (43.7,-6.5,44.5,-4.5), (43.7,-6.5,44.5,-4.5), (-20.1,-3.9,-17.1,-3.1), (-17.1,-3.9,-16.3,-3.1), (-17.1,-3.9,-13.4,-3.1), (-12.4,-3.9,-8.9,-3.1), (-8.9,-3.9,-8.1,-3.1), (-8.9,-3.9,-5.2,-3.1), (-1.4,-3.9,-0.6,-3.1), (-1.4,-3.9,-0.6,-3.1), (3.8,-3.9,6.6,-3.1), (8.4,-3.9,11.6,-3.1), (28.8,-3.9,29.6,-3.1), (30.3,-3.9,33,-3.1), (32.2,-3.9,33,-3.1), (32.2,-3.9,33,-3.1), (35.2,-3.9,36,-3.1), (35.2,-3.9,36,-3.1), (37.2,-3.9,38,-3.1), (37.2,-3.9,38,-3.1), (37.2,-3.9,38,-3.1), (40.2,-3.9,41,-3.1), (40.2,-3.9,41,-3.1), (40.2,-3.9,41,-3.1), (45.2,-3.9,46,-3.1), (45.2,-3.9,46,-3.1), (-4.4,-2.6,-3.6,-1.8), (-4.4,-2.6,-3.6,-1.8), (-18.6,-2.5,-13.9,-1.7), (-10.8,-2.5,-10,-1.7), (-10.8,-2.5,-5.8,-1.7), (42.3,-2.5,43.1,-1.7), (-2.9,-2.4,1.2,-1.6), (9.8,-2.3,10.6,-1.5), (4.8,-1.2,5.6,-0.4), (-21.1,-1.1,-16.3,-0.3), (-17.1,-1.1,-16.3,-0.3), (-12.9,-1.1,-8.1,-0.3), (-8.9,-1.1,-8.1,-0.3), (45.3,-1,46.1,3.1), (-1.3,-0.9,-0.5,3.1), (32.1,-0.9,32.9,3.1), (33.7,-0.9,36.1,-0.1), (37.1,-0.9,37.9,3.1), (38.7,-0.9,41.1,-0.1), (42.1,-0.9,44.5,-0.1), (37.1,-0.2,37.9,1.2), (35.3,-0.1,36.1,1.2), (40.3,-0.1,41.1,1.2), (42.1,-0.1,42.9,1.2), (-21.1,0.3,-20.3,1.1), (-19.5,0.3,-18.7,3.1), (-12.9,0.3,-12.1,1.1), (-11.3,0.3,-10.5,3.1), (-4.5,0.3,-2.1,1.1), (0.3,0.3,1.1,3), (3.7,0.3,4.5,1.1), (6.9,0.3,7.7,1.1), (8.7,0.3,9.5,1.1), (11.9,0.3,12.7,1.1), (13.7,0.3,14.5,1.1), (16.9,0.3,17.7,1.1), (18.7,0.3,19.5,1.1), (21.9,0.3,22.7,1.1), (23.7,0.3,24.5,1.1), (26.9,0.3,27.7,1.1), (28.7,0.3,29.5,3.1), (30.3,0.3,31.1,1.1), (-21.1,2.3,46.1,3.1), (-17.8,2.3,-17,6.3), (-7.5,2.3,-6.7,6.3), (-0.8,2.3,0,6.3), (9.5,2.3,10.3,6.3), (16.2,2.3,17,6.3), (26.5,2.3,27.3,6.3), (33.2,2.3,34,6.3), (43.5,2.3,44.3,6.3), (-21.1,4.3,-20.3,6.3), (-19.5,4.3,-18.7,6.3), (-12.5,4.3,-11.7,6.3), (-10.9,4.3,-10.1,6.3), (-5.9,4.3,-5.1,6.3), (-4.1,4.3,-3.3,6.3), (-2.5,4.3,-1.7,6.3), (4.5,4.3,5.3,6.3), (6.1,4.3,6.9,6.3), (11.1,4.3,11.9,6.3), (12.9,4.3,13.7,6.3), (14.5,4.3,15.3,6.3), (21.5,4.3,22.3,6.3), (23.1,4.3,23.9,6.3), (28.1,4.3,28.9,6.3), (29.9,4.3,30.7,6.3), (31.5,4.3,32.3,6.3), (38.5,4.3,39.3,6.3), (40.1,4.3,40.9,6.3), (45.1,4.3,45.9,6.3), (-20.3,7.2,-13.2,8), (-7.6,7.2,3.8,8), (9.4,7.2,20.8,8), (30.7,7.2,37.8,8), (-15.9,12.3,-15.1,16.3), (-9.1,12.3,-8.3,16.3), (-7.5,12.3,-6.7,14.3), (-5.9,12.3,-5.1,14.3), (1.1,12.3,1.9,16.3), (7.9,12.3,8.7,16.3), (9.5,12.3,10.3,14.3), (11.1,12.3,11.9,14.3), (18.1,12.3,18.9,16.3), (24.9,12.3,25.7,16.3), (26.5,12.3,27.3,14.3), (28.1,12.3,28.9,14.3), (35.1,12.3,35.9,16.3), (41.9,12.3,42.7,16.3), (43.5,12.3,44.3,14.3), (45.1,12.3,45.9,14.3), (-12.5,15.4,-10.1,16.4), (-9.1,15.4,-6.7,16.4), (-7.5,15.4,-5.1,16.4), (4.5,15.4,6.9,16.4), (7.9,15.4,10.3,16.4), (9.5,15.4,11.9,16.4), (21.5,15.4,23.9,16.4), (24.9,15.4,27.3,16.4), (26.5,15.4,28.9,16.4), (38.5,15.4,40.9,16.4), (41.9,15.4,44.3,16.4), (43.5,15.4,46.1,16.4)])
A(sanghun, via1, -17.7, -6.3, 0.4, 0.4, 3, 2, 1.6, 1.2)
A(sanghun, via1, -9.5, -6.3, 0.4, 0.4, 3, 2, 1.6, 1.2)
A(sanghun, via1, 27.1, -6.3, 0.4, 0.4, 3, 2, 3.4, 1.2)
A(sanghun, via1, 13.9, -3.7, 0.4, 0.4, 3, 1, 5, 0)
A(sanghun, via1, 12.1, -2.1, 0.4, 0.4, 3, 1, 5, 0)
A(sanghun, via1, 33.9, -0.7, 0.4, 0.4, 3, 1, 5, 0)
A(sanghun, via1, -17.7, 0.5, 0.4, 0.4, 3, 1, 1.6, 0)
A(sanghun, via1, -9.5, 0.5, 0.4, 0.4, 3, 1, 1.6, 0)
A(sanghun, via1, -12.3, 6.9, 0.4, 0.4, 4, 2, 17, 1.2)
A(sanghun, via1, -7.4, 7.4, 0.4, 0.4, 3, 1, 17, 0)
A(sanghun, via1, -17.9, 9, 0.4, 0.4, 4, 1, 17, 0)
A(sanghun, via1, -5.7, 9.5, 0.4, 0.4, 4, 1, 17, 0)
A(sanghun, via1, 30.1, 9.7, 0.4, 0.4, 1, 3, 0, 1.2)
R(sanghun, via1, [(45.5,-8.3,45.9,-7.9), (-20.9,-6.3,-20.5,-5.9), (-20.9,-6.3,-20.5,-5.9), (-12.7,-6.3,-12.3,-5.9), (3.9,-6.3,4.3,-5.9), (3.9,-6.3,4.3,-5.9), (7.1,-6.3,7.5,-5.9), (7.1,-6.3,7.5,-5.9), (7.1,-6.3,7.5,-5.9), (8.9,-6.3,9.3,-5.9), (12.1,-6.3,12.5,-5.9), (13.9,-6.3,14.3,-5.9), (17.1,-6.3,17.5,-5.9), (18.9,-6.3,19.3,-5.9), (22.1,-6.3,22.5,-5.9), (23.9,-6.3,24.3,-5.9), (38.9,-6.3,39.3,-5.9), (43.9,-6.3,44.3,-5.9), (-20.9,-5.1,-20.5,-4.7), (-20.9,-5.1,-20.5,-4.7), (-12.7,-5.1,-12.3,-4.7), (3.9,-5.1,4.3,-4.7), (7.1,-5.1,7.5,-4.7), (8.9,-5.1,9.3,-4.7), (12.1,-5.1,12.5,-4.7), (13.9,-5.1,14.3,-4.7), (17.1,-5.1,17.5,-4.7), (18.9,-5.1,19.3,-4.7), (22.1,-5.1,22.5,-4.7), (23.9,-5.1,24.3,-4.7), (38.9,-5.1,39.3,-4.7), (43.9,-5.1,44.3,-4.7), (-19.9,-3.7,-19.5,-3.3), (-11.1,-3.7,-10.7,-3.3), (-1.2,-3.7,-0.8,-3.3), (8.6,-3.7,9,-3.3), (29,-3.7,29.4,-3.3), (30.5,-3.7,30.9,-3.3), (35.4,-3.7,35.8,-3.3), (37.4,-3.7,37.8,-3.3), (40.4,-3.7,40.8,-3.3), (45.4,-3.7,45.8,-3.3), (45.4,-3.7,45.8,-3.3), (-4.2,-2.4,-3.8,-2), (-14.5,-2.3,-14.1,-1.9), (-6.4,-2.3,-6,-1.9), (42.5,-2.3,42.9,-1.9), (10,-2.1,10.4,-1.7), (10,-2.1,10.4,-1.7), (2.1,-1,2.5,-0.6), (5,-1,5.4,-0.6), (-20.9,-0.9,-20.5,-0.5), (-12.7,-0.9,-12.3,-0.5), (-20.9,0.5,-20.5,0.9), (-12.7,0.5,-12.3,0.9), (3.9,0.5,4.3,0.9), (7.1,0.5,7.5,0.9), (8.9,0.5,9.3,0.9), (12.1,0.5,12.5,0.9), (13.9,0.5,14.3,0.9), (17.1,0.5,17.5,0.9), (18.9,0.5,19.3,0.9), (22.1,0.5,22.5,0.9), (23.9,0.5,24.3,0.9), (27.1,0.5,27.5,0.9), (30.5,0.5,30.9,0.9), (-1.1,2.5,-0.7,2.9), (-20.9,4.5,-20.5,4.9), (-20.9,4.5,-20.5,4.9), (-14.1,4.5,-13.7,4.9), (-12.3,4.5,-11.9,4.9), (-5.7,4.5,-5.3,4.9), (-3.9,4.5,-3.5,4.9), (-3.9,4.5,-3.5,4.9), (2.9,4.5,3.3,4.9), (4.7,4.5,5.1,4.9), (11.3,4.5,11.7,4.9), (13.1,4.5,13.5,4.9), (13.1,4.5,13.5,4.9), (19.9,4.5,20.3,4.9), (21.7,4.5,22.1,4.9), (28.3,4.5,28.7,4.9), (30.1,4.5,30.5,4.9), (36.9,4.5,37.3,4.9), (38.7,4.5,39.1,4.9), (45.3,4.5,45.7,4.9), (-20.9,5.7,-20.5,6.1), (-12.3,5.7,-11.9,6.1), (-5.7,5.7,-5.3,6.1), (-3.9,5.7,-3.5,6.1), (4.7,5.7,5.1,6.1), (11.3,5.7,11.7,6.1), (13.1,5.7,13.5,6.1), (21.7,5.7,22.1,6.1), (28.3,5.7,28.7,6.1), (30.1,5.7,30.5,6.1), (38.7,5.7,39.1,6.1), (45.3,5.7,45.7,6.1), (-15.6,5.9,-15.2,6.3), (-15.6,5.9,-15.2,6.3), (-15.6,5.9,-15.2,6.3), (1.4,5.9,1.8,6.3), (1.4,5.9,1.8,6.3), (1.4,5.9,1.8,6.3), (18.4,5.9,18.8,6.3), (18.4,5.9,18.8,6.3), (18.4,5.9,18.8,6.3), (35.4,5.9,35.8,6.3), (35.4,5.9,35.8,6.3), (35.4,5.9,35.8,6.3), (33.4,7.4,33.8,7.8), (43.6,7.4,44,7.8), (-20.9,9.7,-20.5,10.1), (-3.9,9.7,-3.5,10.1), (-3.9,9.7,-3.5,10.1), (-3.9,9.7,-3.5,10.1), (13.1,9.7,13.5,10.1), (13.1,9.7,13.5,10.1), (-15.6,11.1,-15.2,11.5), (-15.6,11.1,-15.2,11.5), (1.4,11.1,1.8,11.5), (1.4,11.1,1.8,11.5), (18.4,11.1,18.8,11.5), (18.4,11.1,18.8,11.5), (35.4,11.1,35.8,11.5), (35.4,11.1,35.8,11.5), (30.1,12.1,30.5,12.5), (-14.1,12.5,-13.7,12.9), (-5.7,12.5,-5.3,12.9), (2.9,12.5,3.3,12.9), (11.3,12.5,11.7,12.9), (19.9,12.5,20.3,12.9), (28.3,12.5,28.7,12.9), (36.9,12.5,37.3,12.9), (45.3,12.5,45.7,12.9), (30.1,13.3,30.5,13.7), (30.1,13.3,30.5,13.7), (-14.1,13.7,-13.7,14.1), (-12.3,13.7,-11.9,14.1), (-5.7,13.7,-5.3,14.1), (2.9,13.7,3.3,14.1), (4.7,13.7,5.1,14.1), (11.3,13.7,11.7,14.1), (19.9,13.7,20.3,14.1), (21.7,13.7,22.1,14.1), (28.3,13.7,28.7,14.1), (36.9,13.7,37.3,14.1), (38.7,13.7,39.1,14.1), (45.3,13.7,45.7,14.1), (-5.7,15.7,-5.3,16.1), (-0.5,15.7,-0.1,16.1), (11.3,15.7,11.7,16.1), (16.5,15.7,16.9,16.1), (28.3,15.7,28.7,16.1), (33.5,15.7,33.9,16.1), (45.5,15.7,45.9,16.1)])
A(sanghun, metal2, -17.9, -6.5, 0.8, 7.6, 3, 1, 1.6, 0)
A(sanghun, metal2, -21.1, 4.3, 0.8, 9.6, 4, 1, 17, 0)
A(sanghun, metal2, -5.9, 4.3, 0.8, 2, 4, 2, 17, 8)
A(sanghun, metal2, -15.8, 5.7, 0.8, 6, 4, 1, 17, 0)
A(sanghun, metal2, -21.1, 7.2, 6.1, 0.8, 3, 1, 17, 0)
A(sanghun, metal2, -7.6, 7.2, 0.8, 0.8, 3, 1, 17, 0)
A(sanghun, metal2, -18.1, 8.8, 0.8, 0.8, 4, 1, 17, 0)
A(sanghun, metal2, -6, 15.4, 6.2, 1, 3, 1, 17, 0)
R(sanghun, metal2, [(45.3,-8.5,46.1,-7.7), (-21.1,-6.5,-20.3,-5.7), (-12.9,-6.5,-12.1,1.1), (-9.7,-6.5,-8.9,1.1), (-8.1,-6.5,-7.3,1.1), (-6.6,-6.5,-5.8,1.1), (-6.5,-6.5,-5.7,-4.5), (3.7,-6.5,4.5,-5.7), (6.9,-6.5,7.7,1.1), (8.4,-6.5,9.2,1.1), (8.7,-6.5,9.5,-4.5), (11.9,-6.5,12.7,1.1), (13.7,-6.5,14.5,1.1), (16.9,-6.5,17.7,1.1), (18.7,-6.5,19.5,1.1), (21.9,-6.5,22.7,1.1), (23.7,-6.5,24.5,1.1), (26.9,-6.5,27.7,1.1), (30.3,-6.5,31.1,1.1), (33.7,-6.5,34.5,-0.1), (38.7,-6.5,39.5,-0.1), (43.7,-6.5,44.5,8), (-21.1,-5.7,-20.3,-4.5), (3.7,-5.7,4.5,-4.5), (-20.1,-3.9,-19.3,-3.1), (-11.3,-3.9,-10.5,-3.1), (-1.4,-3.9,-0.6,-3.1), (28.8,-3.9,29.6,-3.1), (35.2,-3.9,36,1.1), (37.2,-3.9,38,-3.1), (40.2,-3.9,41,-3.1), (40.2,-3.9,41,1.1), (45.2,-3.9,46,-3.1), (-4.4,-2.6,-3.6,-1.8), (42.3,-2.5,43.1,-1.7), (42.3,-2.5,43.1,-1.7), (9.8,-2.3,10.6,-1.5), (1.9,-1.2,5.6,-0.4), (4.8,-1.2,5.6,-0.4), (-21.1,-1.1,-20.3,-0.3), (-21.1,0.3,-20.3,1.1), (-6.5,0.3,-5.7,1.1), (3.7,0.3,4.5,1.1), (8.7,0.3,9.5,1.1), (30.3,0.3,31.1,1.1), (-14.3,4.3,-13.5,14.3), (-12.5,4.3,-11.7,14.3), (-5.9,4.3,-5.1,14.3), (2.7,4.3,3.5,14.3), (4.5,4.3,5.3,14.3), (11.1,4.3,11.9,14.3), (19.7,4.3,20.5,14.3), (21.5,4.3,22.3,14.3), (28.1,4.3,28.9,14.3), (36.7,4.3,37.5,14.3), (38.5,4.3,39.3,14.3), (45.1,4.3,45.9,14.3), (33.2,7.2,34,8), (43.4,7.2,44.2,8), (29.9,10.9,36,11.7), (45.3,15.5,46.1,16.3)])
A(sanghun, via2, -17.9, 9, 0.4, 0.4, 4, 1, 17, 0)
A(sanghun, via2, -12.3, 13.7, 0.4, 0.4, 4, 1, 17, 0)
R(sanghun, via2, [(45.5,-8.3,45.9,-7.9), (-20.9,-6.3,-20.5,-5.9), (3.9,-6.3,4.3,-5.9), (-20.9,-5.1,-20.5,-4.7), (3.9,-5.1,4.3,-4.7), (-19.9,-3.7,-19.5,-3.3), (-19.9,-3.7,-19.5,-3.3), (-16.1,-3.7,-15.7,-3.3), (-11.1,-3.7,-10.7,-3.3), (-1.2,-3.7,-0.8,-3.3), (29,-3.7,29.4,-3.3), (37.4,-3.7,37.8,-3.3), (38.9,-3.7,39.3,-3.3), (45.4,-3.7,45.8,-3.3), (-4.2,-2.4,-3.8,-2), (33.9,-2.3,34.3,-1.9), (42.5,-2.3,42.9,-1.9), (42.5,-2.3,42.9,-1.9), (42.5,-2.3,42.9,-1.9), (10,-2.1,10.4,-1.7), (5,-1,5.4,-0.6), (-20.9,-0.9,-20.5,-0.5), (7.1,-0.7,7.5,-0.3), (-20.9,0.5,-20.5,0.9), (-7.9,0.5,-7.5,0.9), (-7.9,0.5,-7.5,0.9), (-7.9,0.5,-7.5,0.9), (3.9,0.5,4.3,0.9), (35.4,0.5,35.8,0.9), (40.4,0.5,40.8,0.9), (-20.9,4.5,-20.5,4.9), (-14.1,4.5,-13.7,4.9), (-3.9,4.5,-3.5,4.9), (-3.9,4.5,-3.5,4.9), (2.9,4.5,3.3,4.9), (13.1,4.5,13.5,4.9), (13.1,4.5,13.5,4.9), (-7.4,7.4,-7,7.8), (9.6,7.4,10,7.8), (9.6,7.4,10,7.8), (26.6,7.4,27,7.8), (26.6,7.4,27,7.8), (33.4,7.4,33.8,7.8), (19.9,9.8,20.3,10.2), (19.9,9.8,20.3,10.2), (45.5,15.7,45.9,16.1)])
A(sanghun, metal3, -21.1, 4.3, 0.8, 0.8, 3, 1, 17, 0)
A(sanghun, metal3, -7.6, 7.2, 0.8, 0.8, 3, 1, 17, 0)
A(sanghun, metal3, -18.1, 8.8, 0.8, 5.5, 4, 1, 17, 0)
A(sanghun, metal3, -18.1, 13.5, 6.4, 0.8, 4, 1, 17, 0)
R(sanghun, metal3, [(45.3,-8.5,46.1,-7.7), (-21.1,-6.5,-20.3,-5.7), (3.7,-6.5,4.5,-5.7), (-21.1,-5.7,-20.3,-4.5), (3.7,-5.7,4.5,-4.5), (-20.1,-3.9,-18.9,-3.1), (-19.7,-3.9,-18.9,5.1), (-16.3,-3.9,-15.5,-3.1), (-11.3,-3.9,-10.5,3.1), (-1.4,-3.9,-0.6,-3.1), (28.8,-3.9,38,-3.1), (38.7,-3.9,46,-3.1), (-8.1,-2.6,-3.6,-1.8), (-8.1,-2.6,-7.3,1.1), (33.7,-2.5,43.1,-1.7), (42.3,-2.5,43.1,-1.7), (9.8,-2.3,10.6,-1.5), (-21.1,-1.1,-20.3,-0.3), (6.9,-0.9,34,-0.1), (33.2,-0.9,34,8), (-21.1,0.3,-20.3,1.1), (-8.1,0.3,-7.3,1.1), (3.7,0.3,4.5,1.1), (35.2,0.3,36,1.1), (40.2,0.3,41,1.1), (-10.5,2.3,3.5,3.1), (2.7,2.3,3.5,5.1), (-19.7,4.3,-13.5,5.1), (19.7,9.6,20.5,10.4), (45.3,15.5,46.1,16.3)])
sanghun.add(gdstk.Label('VDD', (45.7,15.9), layer=75, texttype=0))
sanghun.add(gdstk.Label('C0', (-18.2,-2.1), layer=75, texttype=0))
sanghun.add(gdstk.Label('C2', (29.2,-3.5), layer=75, texttype=0))
sanghun.add(gdstk.Label('CLK', (-19.9,7.6), layer=75, texttype=0))
sanghun.add(gdstk.Label('C1', (-10.4,-2.1), layer=75, texttype=0))
sanghun.add(gdstk.Label('GND', (-20.7,2.7), layer=75, texttype=0))
sanghun.add(gdstk.Label('O_CLK', (27.3,-3.2), layer=76, texttype=0))
sanghun.add(gdstk.Label('D_CLK', (37.1,5.9), layer=76, texttype=0))

lib.write_gds('sanghun.gds')
